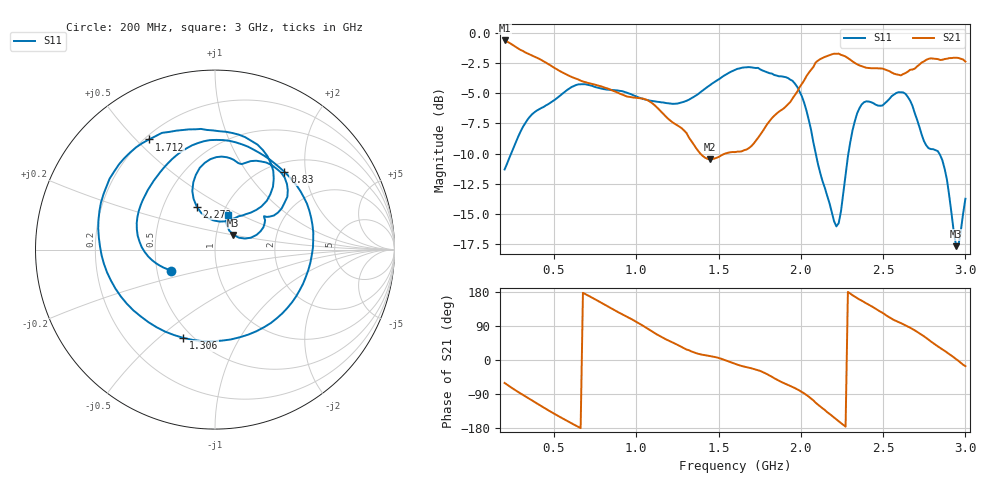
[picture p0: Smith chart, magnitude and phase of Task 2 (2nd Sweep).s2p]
# HZ S RI R 50
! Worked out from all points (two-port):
!   201 points, 200 MHz to 3 GHz, reference 50 ohm
!   highest |S21| = -0.66 dB at 200 MHz (marker M1); lowest = -10.5 dB at 1.446 GHz (marker M2)
!   |S21| within 3 dB of the highest: start of sweep to 605.4 MHz; 2.032 GHz to end of sweep
!   lowest |S11| = -17.6 dB at 2.944 GHz (marker M3), VSWR 1.30, Z = 60.5 + j10.1 ohm
!   |S11| at or under -10 dB: start of sweep to 239.6 MHz; 2.091 GHz to 2.289 GHz (198.4 MHz wide, 9.06 % of centre); 2.841 GHz to end of sweep
!   S12 and S22 are empty: the file has one direction only
!   S11 on the Smith chart (normalised r, x): 200 MHz: 0.59, -0.15; 830 MHz: 1.17, +1.54; 1.306 GHz: 0.45, -0.60; 1.712 GHz: 0.22, +0.55; 2.272 GHz: 0.73, +0.38; 3 GHz: 1.07, +0.43
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2e8  -0.2457 -0.1165  0.4564 -0.8072  0 0  0 0
3.12e8  -0.4082 0.0134  -0.0335 -0.8381  0 0  0 0
4.52e8  -0.3741 0.3324  -0.4747 -0.5812  0 0  0 0
6.76e8  0.0457 0.6101  -0.6267 0.0305  0 0  0 0
8.3e8  0.3865 0.4335  -0.4529 0.3714  0 0  0 0
9.84e8  0.5472 0.0537  -0.1373 0.5209  0 0  0 0
1.138e9  0.376 -0.3545  0.2074 0.4347  0 0  0 0
1.306e9  -0.1773 -0.4916  0.3406 0.1772  0 0  0 0
1.446e9  -0.5794 -0.1731  0.2942 0.0552  0 0  0 0
1.6e9  -0.6029 0.3551  0.3153 -0.0585  0 0  0 0
1.712e9  -0.368 0.6137  0.318 -0.1382  0 0  0 0
1.922e9  0.1678 0.6265  0.206 -0.4613  0 0  0 0
2.076e9  0.2583 0.24  -0.2028 -0.6909  0 0  0 0
2.216e9  0.0265 0.156  -0.7502 -0.3228  0 0  0 0
2.272e9  -0.1018 0.2398  -0.7936 -0.0577  0 0  0 0
2.356e9  -0.0571 0.4832  -0.686 0.254  0 0  0 0
2.538e9  0.1988 0.4931  -0.2678 0.6385  0 0  0 0
2.65e9  0.4009 0.365  0.0215 0.6889  0 0  0 0
2.762e9  0.2896 0.1821  0.4043 0.6565  0 0  0 0
2.86e9  0.2696 0.1243  0.6815 0.3619  0 0  0 0
2.944e9  0.1022 0.0821  0.7863 0.0325  0 0  0 0
3e9  0.073 0.1925  0.7282 -0.2132  0 0  0 0
